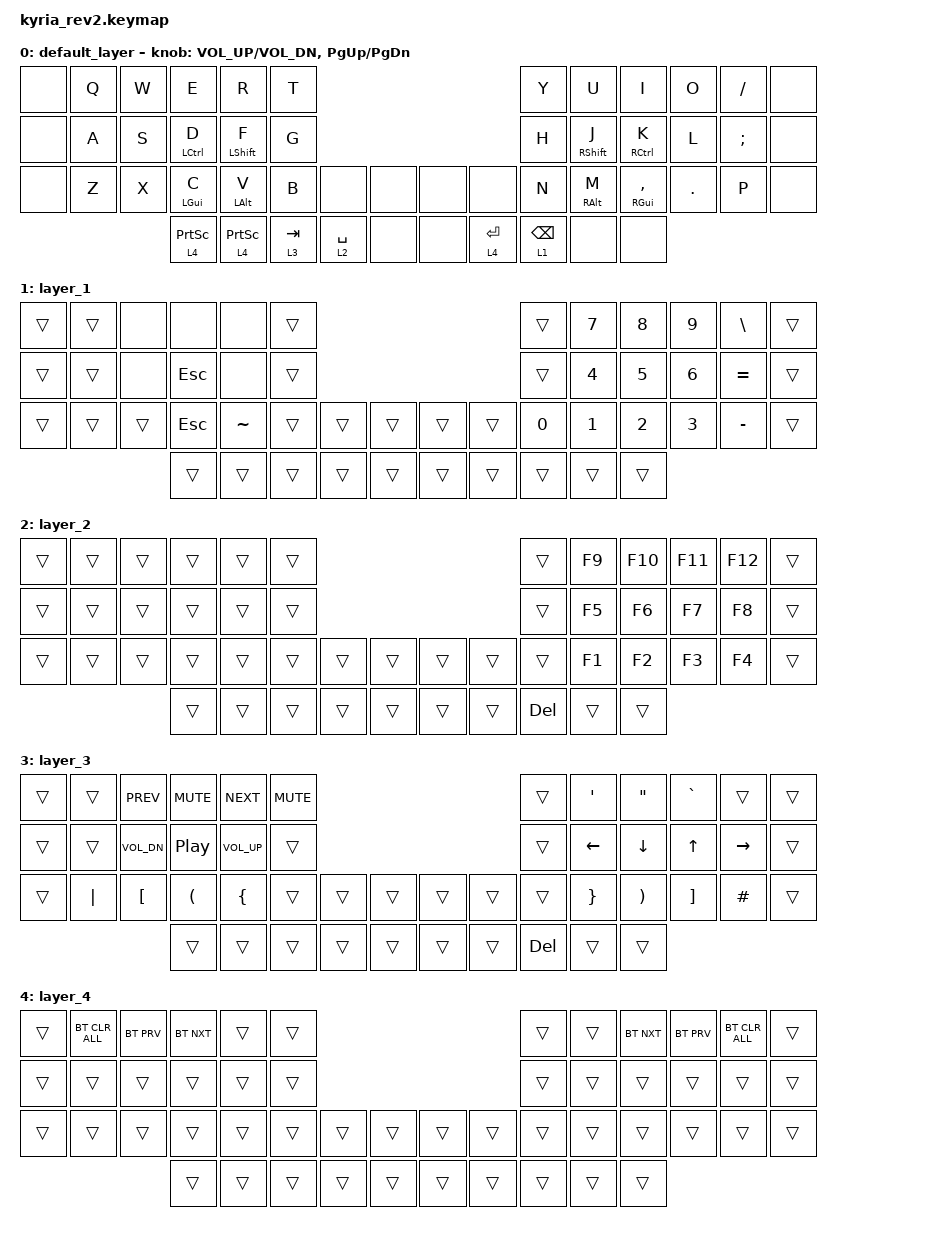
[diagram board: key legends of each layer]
/*
 * Copyright (c) 2020 The ZMK Contributors
 *
 * SPDX-License-Identifier: MIT
 */

#include <behaviors.dtsi>
#include <dt-bindings/zmk/bt.h>
#include <dt-bindings/zmk/keys.h>

&mt { tapping-term-ms = <400>; };

/ {
    combos {
        compatible = "zmk,combos";

        new_combo {
            bindings = <&kp ESCAPE>;
            key-positions = <7 8>;
        };
    };

    keymap {
        compatible = "zmk,keymap";

        default_layer {
            // ---------------------------------------------------------------------------------------------------------------------------------
            // |  ESC  |  Q  |  W  |  E   |  R   |  T   |                                          |  Y   |  U    |  I    |  O   |   P   |   \  |
            // |  TAB  |  A  |  S  |  D   |  F   |  G   |                                          |  H   |  J    |  K    |  L   |   ;   |   '  |
            // | SHIFT |  Z  |  X  |  C   |  V   |  B   | L SHIFT | L SHIFT |  | L SHIFT | L SHIFT |  N   |  M    |  ,    |  .   |   /   | CTRL |
            //                     | GUI  | DEL  | RET  |  SPACE  |   ESC   |  |   RET   |  SPACE  | TAB  | BSPC  | R-ALT |

            bindings = <
&none  &kp Q  &kp W  &kp E              &kp R              &kp T                                              &kp Y            &kp U         &kp I           &kp O    &kp SLASH  &none
&none  &kp A  &kp S  &mt LCTRL D        &mt LSHFT F        &kp G                                              &kp H            &mt RSHIFT J  &mt RCTRL K     &kp L    &kp SEMI   &none
&none  &kp Z  &kp X  &mt LGUI C         &mt LALT V         &kp B      &none        &none  &none  &none        &kp N            &mt RALT M    &mt RGUI COMMA  &kp DOT  &kp P      &none
                     &lt 4 PRINTSCREEN  &lt 4 PRINTSCREEN  &lt 3 TAB  &lt 2 SPACE  &none  &none  &lt 4 ENTER  &lt 1 BACKSPACE  &none         &none
            >;

            sensor-bindings = <&inc_dec_kp C_VOL_UP C_VOL_DN &inc_dec_kp PG_UP PG_DN>;
        };

        layer_1 {
            bindings = <
&trans  &trans  &none   &none       &none      &trans                                  &trans  &kp N7  &kp N8  &kp N9  &kp BACKSLASH  &trans
&trans  &trans  &none   &kp ESCAPE  &none      &trans                                  &trans  &kp N4  &kp N5  &kp N6  &kp EQUAL      &trans
&trans  &trans  &trans  &kp ESCAPE  &kp TILDE  &trans  &trans  &trans  &trans  &trans  &kp N0  &kp N1  &kp N2  &kp N3  &kp MINUS      &trans
                        &trans      &trans     &trans  &trans  &trans  &trans  &trans  &trans  &trans  &trans
            >;
        };

        layer_2 {
            bindings = <
&trans  &trans  &trans  &trans  &trans  &trans                                  &trans      &kp F9  &kp F10  &kp F11  &kp F12  &trans
&trans  &trans  &trans  &trans  &trans  &trans                                  &trans      &kp F5  &kp F6   &kp F7   &kp F8   &trans
&trans  &trans  &trans  &trans  &trans  &trans  &trans  &trans  &trans  &trans  &trans      &kp F1  &kp F2   &kp F3   &kp F4   &trans
                        &trans  &trans  &trans  &trans  &trans  &trans  &trans  &kp DELETE  &trans  &trans
            >;
        };

        layer_3 {
            bindings = <
&trans  &trans    &kp C_PREV        &kp C_MUTE            &kp C_NEXT       &kp C_MUTE                                  &trans      &kp SINGLE_QUOTE  &kp DOUBLE_QUOTES      &kp GRAVE          &trans     &trans
&trans  &trans    &kp C_VOL_DN      &kp C_PLAY_PAUSE      &kp C_VOLUME_UP  &trans                                      &trans      &kp LEFT          &kp DOWN               &kp UP             &kp RIGHT  &trans
&trans  &kp PIPE  &kp LEFT_BRACKET  &kp LEFT_PARENTHESIS  &kp LEFT_BRACE   &trans      &trans  &trans  &trans  &trans  &trans      &kp RIGHT_BRACE   &kp RIGHT_PARENTHESIS  &kp RIGHT_BRACKET  &kp HASH   &trans
                                    &trans                &trans           &trans      &trans  &trans  &trans  &trans  &kp DELETE  &trans            &trans
            >;
        };

        layer_4 {
            bindings = <
&trans  &bt BT_CLR_ALL  &bt BT_PRV  &bt BT_NXT  &trans  &trans                                  &trans  &trans  &bt BT_NXT  &bt BT_PRV  &bt BT_CLR_ALL  &trans
&trans  &trans          &trans      &trans      &trans  &trans                                  &trans  &trans  &trans      &trans      &trans          &trans
&trans  &trans          &trans      &trans      &trans  &trans  &trans  &trans  &trans  &trans  &trans  &trans  &trans      &trans      &trans          &trans
                                    &trans      &trans  &trans  &trans  &trans  &trans  &trans  &trans  &trans  &trans
            >;
        };
    };
};
